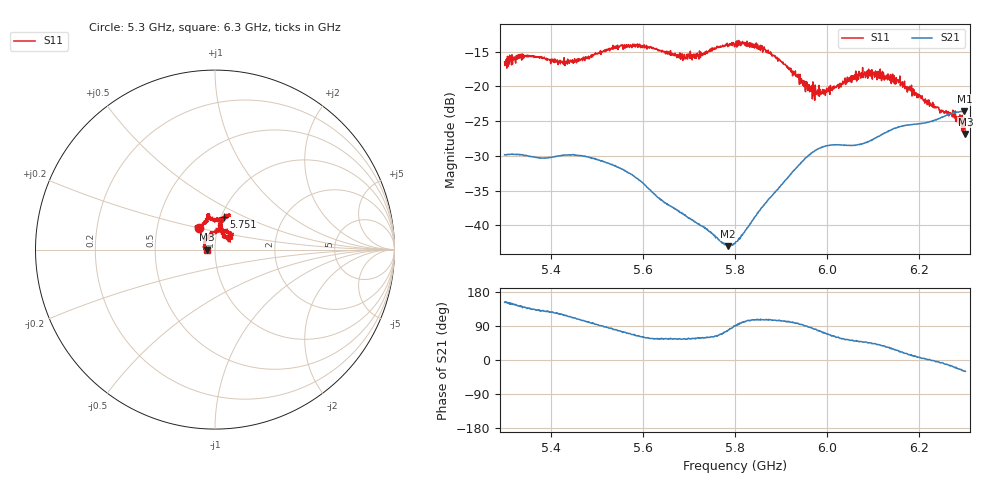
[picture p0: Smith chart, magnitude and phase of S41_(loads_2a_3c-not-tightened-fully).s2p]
! NanoVNA-App
! Date: 2026-11-04 22:34:21
! Start: 5,3GHz Stop: 6,3GHz Points: 1001
! S-Parameter data: F S11 S21 S12 S22
# Hz S RI R 50
!  Frequency  S11_Real  S11_Imag  S21_Real  S21_Imag  S12_Real  S12_Imag  S22_Real  S22_Imag
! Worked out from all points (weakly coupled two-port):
!   1001 points, 5.3 GHz to 6.3 GHz, reference 50 ohm
!   highest |S21| = -23.59 dB at 6.298 GHz (marker M1); lowest = -43.0 dB at 5.785 GHz (marker M2)
!   lowest |S11| = -26.9 dB at 6.3 GHz (marker M3), VSWR 1.10, Z = 45.7 - j0.116 ohm
!   |S11| at or under -10 dB: start of sweep to end of sweep
!   S12 and S22 are empty: the file has one direction only
!   S11 on the Smith chart (normalised r, x): 5.3 GHz: 0.82, +0.20; 5.751 GHz: 1.03, +0.38; 6.3 GHz: 0.91, -0.00
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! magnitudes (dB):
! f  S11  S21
! 5.3 GHz  -16.5  -29.8
! 5.349 GHz  -15.5  -30.0
! 5.426 GHz  -16.6  -29.9
! 5.467 GHz  -16.1  -30.0
! 5.558 GHz  -14.3  -32.0
! 5.634 GHz  -14.8  -36.1
! 5.692 GHz  -16.1  -38.5
! 5.751 GHz  -14.6  -41.2
! 5.785 GHz  -14.0  -43.0
! 5.8 GHz  -14.3  -42.6
! 5.861 GHz  -14.7  -37.3
! 5.967 GHz  -20.3  -29.5
! 6.001 GHz  -20.7  -28.6
! 6.049 GHz  -18.8  -28.5
! 6.09 GHz  -17.5  -27.9
! 6.134 GHz  -18.8  -26.4
! 6.155 GHz  -19.5  -25.9
! 6.249 GHz  -23.6  -24.5
! 6.273 GHz  -23.4  -23.8
! 6.288 GHz  -24.1  -23.6
! 6.298 GHz  -24.6  -23.6
! 6.3 GHz  -26.9  -23.6
